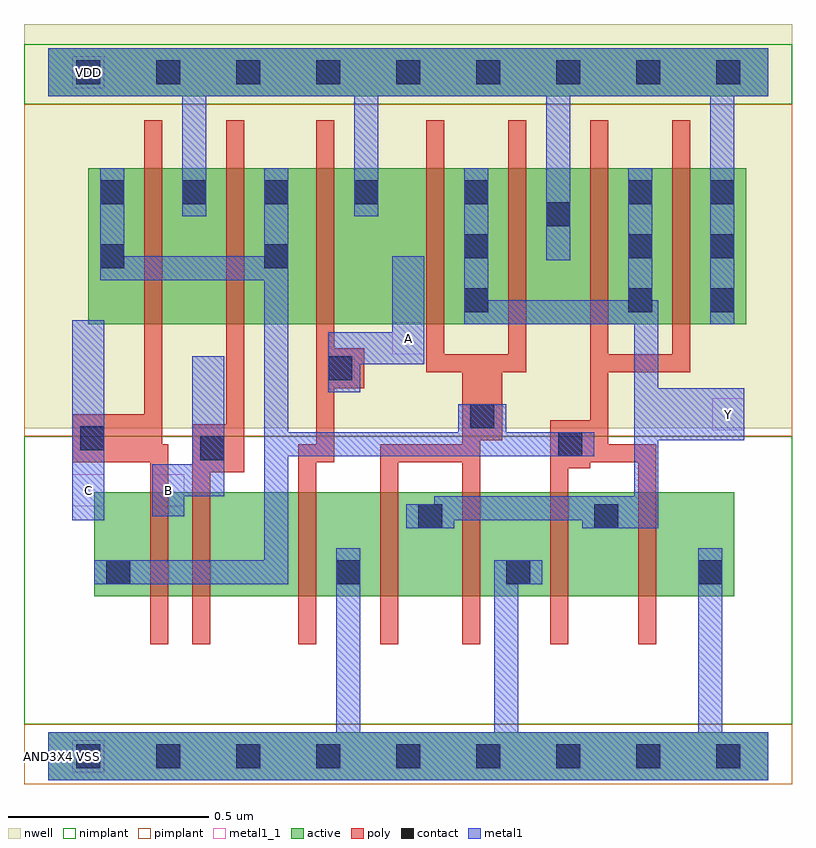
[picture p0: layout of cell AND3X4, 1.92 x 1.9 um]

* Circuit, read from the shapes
.subckt AND3X4 A B C VDD VSS Y
M1 n1 C n2 VSS nfet w=0.26u l=0.045u
M2 n3 B n1 VSS nfet w=0.26u l=0.045u
M3 VSS A n3 VSS nfet w=0.26u l=0.045u
M4 Y n2 VSS VSS nfet w=0.26u l=0.045u m=4
M5 VDD C n2 VDD pfet w=0.39u l=0.045u
M6 n2 B VDD VDD pfet w=0.39u l=0.045u
M7 VDD A n2 VDD pfet w=0.39u l=0.045u
M8 Y n2 VDD VDD pfet w=0.39u l=0.045u m=4
.ends

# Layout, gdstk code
import gdstk
lib = gdstk.Library(unit=1e-6, precision=5e-10)
def R(c, l, rs):  # rectangles x0, y0, x1, y1
    for r in rs: c.add(gdstk.rectangle(r[:2], r[2:], *l))
def A(c, l, x, y, w, h, nx, ny, dx, dy):  # array of equal rectangles
    R(c, l, [(x+i*dx, y+j*dy, x+i*dx+w, y+j*dy+h) for i in range(nx) for j in range(ny)])
def P(c, l, *ps):  # polygons
    for p in ps: c.add(gdstk.Polygon(p, *l))
active = (1, 0)
nwell = (2, 0)
poly = (3, 0)
nimplant = (4, 0)
pimplant = (5, 0)
contact = (6, 0)
metal1 = (7, 0)
metal1_1 = (7, 1)

and3x4 = lib.new_cell('AND3X4')
R(and3x4, active, [(0,-0.06,1.8,0.06), (0.115,0.4,1.715,0.66), (0.1,1.08,1.745,1.47), (0,1.65,1.8,1.77)])
R(and3x4, nwell, [(-0.06,0.82,1.86,1.83)])
P(and3x4, poly, [(0.24,1.59),(0.285,1.59),(0.285,0.78),(0.3,0.78),(0.3,0.28),(0.255,0.28),(0.255,0.735),(0.06,0.735),(0.06,0.855),(0.24,0.855)],
  [(0.445,1.59),(0.49,1.59),(0.49,0.71),(0.405,0.71),(0.405,0.28),(0.36,0.28),(0.36,0.83),(0.445,0.83)],
  [(0.67,1.59),(0.715,1.59),(0.715,1.02),(0.79,1.02),(0.79,0.92),(0.715,0.92),(0.715,0.735),(0.67,0.735),(0.67,0.28),(0.625,0.28),(0.625,0.78),(0.67,0.78)],
  [(0.945,1.59),(0.99,1.59),(0.99,1.005),(1.15,1.005),(1.15,1.59),(1.195,1.59),(1.195,0.96),(1.135,0.96),(1.135,0.79),(1.08,0.79),(1.08,0.28),(1.035,0.28),(1.035,0.735),(0.875,0.735),(0.875,0.28),(0.83,0.28),(0.83,0.78),(1.035,0.78),(1.035,0.96),(0.945,0.96)],
  [(1.355,1.59),(1.4,1.59),(1.4,1.005),(1.56,1.005),(1.56,1.59),(1.605,1.59),(1.605,0.96),(1.4,0.96),(1.4,0.78),(1.52,0.78),(1.52,0.28),(1.475,0.28),(1.475,0.735),(1.355,0.735),(1.355,0.72),(1.3,0.72),(1.3,0.28),(1.255,0.28),(1.255,0.84),(1.355,0.84)])
R(and3x4, nimplant, [(-0.06,0.08,1.86,0.8), (-0.06,1.63,1.86,1.78)])
R(and3x4, pimplant, [(-0.06,-0.07,1.86,0.08), (-0.06,0.8,1.86,1.63)])
A(and3x4, contact, 0.07, -0.03, 0.06, 0.06, 9, 2, 0.2, 1.71)
A(and3x4, contact, 1.04, 1.11, 0.06, 0.06, 1, 3, 0, 0.135)
A(and3x4, contact, 1.45, 1.11, 0.06, 0.06, 1, 3, 0, 0.135)
A(and3x4, contact, 1.655, 1.11, 0.06, 0.06, 1, 3, 0, 0.135)
A(and3x4, contact, 0.13, 1.38, 0.06, 0.06, 3, 1, 0.205, 0)
R(and3x4, contact, [(0.145,0.43,0.205,0.49), (0.72,0.43,0.78,0.49), (1.145,0.43,1.205,0.49), (1.625,0.43,1.685,0.49), (0.925,0.57,0.985,0.63), (1.365,0.57,1.425,0.63), (0.38,0.74,0.44,0.8), (1.275,0.75,1.335,0.81), (0.08,0.765,0.14,0.825), (1.055,0.82,1.115,0.88), (0.7,0.94,0.76,1), (0.13,1.22,0.19,1.28), (0.54,1.22,0.6,1.28), (1.245,1.325,1.305,1.385), (0.765,1.38,0.825,1.44)])
R(and3x4, metal1, [(0.06,0.59,0.14,1.09)])
P(and3x4, metal1, [(0,1.77),(1.8,1.77),(1.8,1.65),(1.715,1.65),(1.715,1.08),(1.655,1.08),(1.655,1.65),(1.305,1.65),(1.305,1.24),(1.245,1.24),(1.245,1.65),(0.825,1.65),(0.825,1.35),(0.765,1.35),(0.765,1.65),(0.395,1.65),(0.395,1.35),(0.335,1.35),(0.335,1.65),(0,1.65)],
  [(0.13,1.47),(0.19,1.47),(0.19,1.25),(0.54,1.25),(0.54,1.47),(0.6,1.47),(0.6,0.81),(1.025,0.81),(1.025,0.88),(1.145,0.88),(1.145,0.81),(1.365,0.81),(1.365,0.75),(0.6,0.75),(0.6,0.43),(0.115,0.43),(0.115,0.49),(0.54,0.49),(0.54,1.19),(0.13,1.19)],
  [(1.04,1.47),(1.1,1.47),(1.1,1.14),(1.45,1.14),(1.45,1.47),(1.51,1.47),(1.51,1.14),(1.525,1.14),(1.525,0.92),(1.74,0.92),(1.74,0.79),(1.525,0.79),(1.525,0.57),(1.335,0.57),(1.335,0.59),(1.015,0.59),(1.015,0.57),(0.895,0.57),(0.895,0.63),(0.965,0.63),(0.965,0.65),(1.465,0.65),(1.465,1.08),(1.04,1.08)],
  [(0.86,1.25),(0.94,1.25),(0.94,0.98),(0.78,0.98),(0.78,0.91),(0.7,0.91),(0.7,1.06),(0.86,1.06)],
  [(0.36,1),(0.44,1),(0.44,0.65),(0.34,0.65),(0.34,0.6),(0.26,0.6),(0.26,0.73),(0.36,0.73)],
  [(0.72,0.52),(0.78,0.52),(0.78,0.06),(1.115,0.06),(1.115,0.49),(1.235,0.49),(1.235,0.43),(1.175,0.43),(1.175,0.06),(1.625,0.06),(1.625,0.52),(1.685,0.52),(1.685,0.06),(1.8,0.06),(1.8,-0.06),(0,-0.06),(0,0.06),(0.72,0.06)])
R(and3x4, metal1_1, [(0.06,-0.04,0.14,0.04), (0.06,0.625,0.14,0.705), (0.26,0.625,0.34,0.705), (1.66,0.815,1.74,0.895), (0.86,1.005,0.94,1.085), (0.06,1.67,0.14,1.75)])
and3x4.add(gdstk.Label('Y', (1.7,0.855), layer=7, texttype=1))
and3x4.add(gdstk.Label('A', (0.9,1.045), layer=7, texttype=1))
and3x4.add(gdstk.Label('B', (0.3,0.665), layer=7, texttype=1))
and3x4.add(gdstk.Label('C', (0.1,0.665), layer=7, texttype=1))
and3x4.add(gdstk.Label('VDD', (0.1,1.71), layer=7, texttype=1))
and3x4.add(gdstk.Label('VSS', (0.1,0), layer=7, texttype=1))
and3x4.add(gdstk.Label('AND3X4', (0,0), layer=63, texttype=0))

lib.write_gds('AND3X4.gds')
